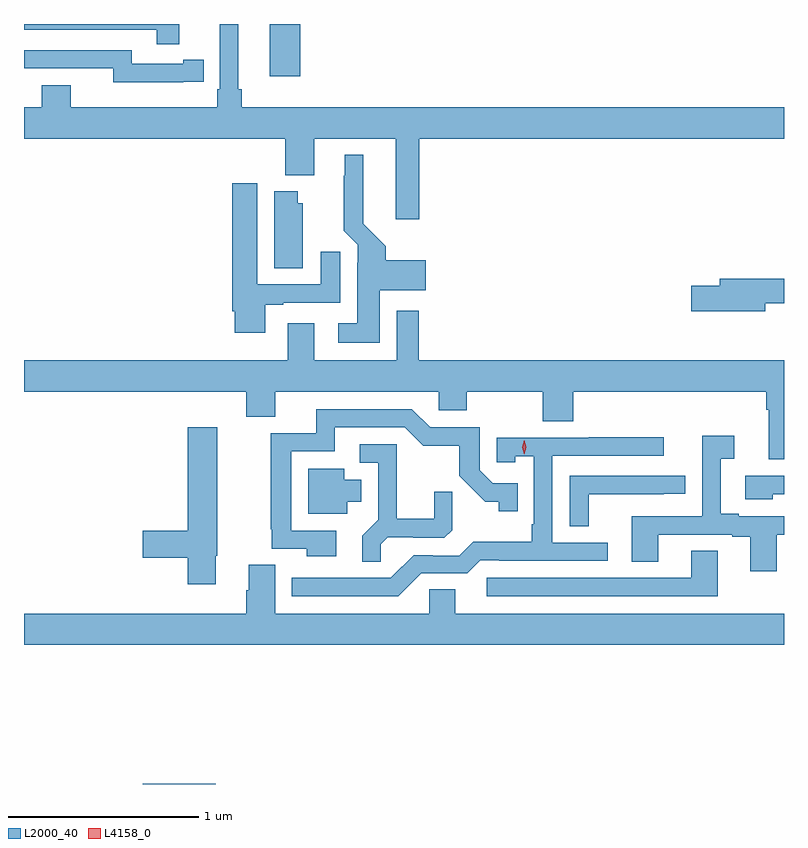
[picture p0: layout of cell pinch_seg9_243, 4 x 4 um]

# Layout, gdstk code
import gdstk
lib = gdstk.Library(unit=1e-6, precision=1e-09)
def R(c, l, rs):  # rectangles x0, y0, x1, y1
    for r in rs: c.add(gdstk.rectangle(r[:2], r[2:], *l))
def P(c, l, *ps):  # polygons
    for p in ps: c.add(gdstk.Polygon(p, *l))
L2000_40 = (2000, 40)
L4158_0 = (4158, 0)

pinch_seg9_243 = lib.new_cell('pinch_seg9_243')
R(pinch_seg9_243, L2000_40, [(397.548,1238.311,397.932,1238.312), (398.216,1242.036,398.375,1242.311)])
P(pinch_seg9_243, L2000_40, [(397.739,1242.311),(396.922,1242.311),(396.922,1242.282),(397.621,1242.282),(397.621,1242.204),(397.739,1242.204)],
  [(399.002,1241.708),(400.922,1241.708),(400.922,1241.872),(398.069,1241.872),(398.069,1241.968),(398.05,1241.968),(398.05,1242.311),(397.953,1242.311),(397.953,1241.968),(397.94,1241.968),(397.94,1241.872),(397.168,1241.872),(397.168,1241.989),(397.016,1241.989),(397.016,1241.872),(396.922,1241.872),(396.922,1241.708),(398.297,1241.708),(398.297,1241.516),(398.449,1241.516),(398.449,1241.708),(398.879,1241.708),(398.879,1241.283),(399.002,1241.283)],
  [(397.76,1242.006),(397.868,1242.006),(397.868,1242.122),(397.76,1242.122),(397.76,1242.102),(397.488,1242.102),(397.488,1242.174),(396.922,1242.174),(396.922,1242.077),(396.932,1242.077),(396.932,1242.078),(397.392,1242.078),(397.392,1242.005),(397.76,1242.005)],
  [(398.794,1240.91),(399.037,1240.91),(399.037,1241.068),(398.825,1241.068),(398.825,1241.142),(398.707,1241.26),(398.707,1241.623),(398.609,1241.623),(398.609,1241.513),(398.605,1241.513),(398.605,1241.222),(398.679,1241.148),(398.679,1241.054),(398.675,1241.054),(398.675,1240.735),(398.577,1240.735),(398.577,1240.634),(398.794,1240.634)],
  [(398.191,1240.833),(398.287,1240.833),(398.287,1240.845),(398.587,1240.845),(398.587,1241.113),(398.483,1241.113),(398.483,1240.941),(398.149,1240.941),(398.149,1241.473),(398.018,1241.473),(398.018,1240.798),(398.03,1240.798),(398.03,1240.686),(398.191,1240.686)],
  [(398.389,1241.367),(398.362,1241.367),(398.362,1241.431),(398.24,1241.431),(398.24,1241.026),(398.389,1241.026)],
  [(400.822,1240.842),(400.922,1240.842),(400.922,1240.97),(400.583,1240.97),(400.583,1240.934),(400.434,1240.934),(400.434,1240.799),(400.822,1240.799)],
  [(400.922,1240.54),(398.999,1240.54),(398.999,1240.801),(398.883,1240.801),(398.883,1240.54),(398.449,1240.54),(398.449,1240.735),(398.309,1240.735),(398.309,1240.54),(396.922,1240.54),(396.922,1240.376),(398.093,1240.376),(398.093,1240.243),(398.245,1240.243),(398.245,1240.376),(399.105,1240.376),(399.105,1240.278),(399.252,1240.278),(399.252,1240.376),(399.652,1240.376),(399.652,1240.219),(399.812,1240.219),(399.812,1240.376),(400.829,1240.376),(400.829,1240.28),(400.841,1240.28),(400.841,1240.02),(400.922,1240.02)],
  [(398.566,1239.645),(398.328,1239.645),(398.328,1240.062),(398.557,1240.062),(398.557,1240.188),(398.925,1240.188),(399.024,1240.09),(399.213,1240.09),(399.213,1239.934),(399.35,1239.797),(399.42,1239.797),(399.42,1239.747),(399.521,1239.747),(399.521,1239.894),(399.39,1239.894),(399.321,1239.963),(399.321,1240.188),(399.06,1240.188),(398.964,1240.284),(398.459,1240.284),(398.459,1240.158),(398.22,1240.158),(398.22,1239.652),(398.227,1239.652),(398.227,1239.549),(398.41,1239.549),(398.41,1239.509),(398.566,1239.509)],
  [(397.93,1239.513),(397.938,1239.513),(397.938,1240.189),(397.784,1240.189),(397.784,1239.644),(397.548,1239.644),(397.548,1239.502),(397.784,1239.502),(397.784,1239.363),(397.93,1239.363)],
  [(400.885,1239.624),(400.922,1239.624),(400.922,1239.72),(400.684,1239.72),(400.684,1239.733),(400.588,1239.733),(400.588,1240.024),(400.66,1240.024),(400.66,1240.144),(400.491,1240.144),(400.491,1239.72),(400.121,1239.72),(400.121,1239.481),(400.261,1239.481),(400.261,1239.624),(400.649,1239.624),(400.649,1239.612),(400.745,1239.612),(400.745,1239.432),(400.885,1239.432)],
  [(399.012,1239.42),(399.255,1239.42),(399.324,1239.489),(399.424,1239.489),(399.424,1239.486),(399.994,1239.486),(399.994,1239.582),(399.702,1239.582),(399.702,1240.038),(400.288,1240.038),(400.288,1240.137),(399.895,1240.137),(399.895,1240.134),(399.411,1240.134),(399.411,1240.005),(399.507,1240.005),(399.507,1240.037),(399.606,1240.037),(399.606,1239.679),(399.594,1239.679),(399.594,1239.586),(399.286,1239.586),(399.213,1239.513),(399.074,1239.513),(399.074,1239.516),(398.973,1239.516),(398.853,1239.396),(398.33,1239.396),(398.33,1239.3),(398.892,1239.3)],
  [(398.799,1239.572),(398.836,1239.609),(398.97,1239.609),(398.97,1239.606),(399.135,1239.606),(399.176,1239.647),(399.176,1239.849),(399.082,1239.849),(399.082,1239.706),(398.885,1239.706),(398.885,1240.098),(398.688,1240.098),(398.688,1240.002),(398.787,1240.002),(398.787,1239.703),(398.701,1239.617),(398.701,1239.481),(398.799,1239.481)],
  [(398.623,1239.797),(398.698,1239.797),(398.698,1239.913),(398.608,1239.913),(398.608,1239.97),(398.417,1239.97),(398.417,1239.734),(398.623,1239.734)],
  [(400.863,1239.837),(400.922,1239.837),(400.922,1239.933),(400.719,1239.933),(400.719,1239.809),(400.863,1239.809)],
  [(399.894,1239.837),(400.289,1239.837),(400.289,1239.838),(400.402,1239.838),(400.402,1239.933),(399.795,1239.933),(399.795,1239.667),(399.894,1239.667)],
  [(400.573,1239.539),(400.433,1239.539),(400.433,1239.396),(399.357,1239.396),(399.357,1239.3),(400.573,1239.3)],
  [(400.922,1239.208),(399.193,1239.208),(399.193,1239.335),(399.054,1239.335),(399.054,1239.208),(398.245,1239.208),(398.245,1239.464),(398.105,1239.464),(398.105,1239.33),(398.093,1239.33),(398.093,1239.208),(396.922,1239.208),(396.922,1239.044),(400.922,1239.044)])
P(pinch_seg9_243, L4158_0, [(399.554,1240.047),(399.545,1240.083),(399.555,1240.119),(399.555,1240.119),(399.556,1240.119),(399.565,1240.083),(399.555,1240.047),(399.555,1240.047)])

lib.write_gds('pinch_seg9_243.gds')
